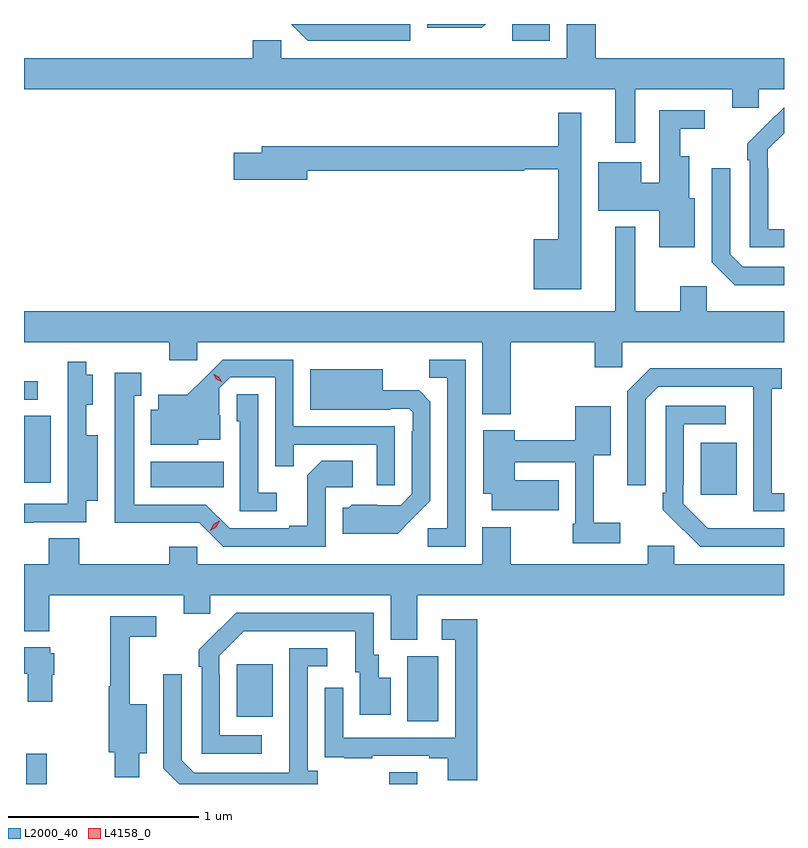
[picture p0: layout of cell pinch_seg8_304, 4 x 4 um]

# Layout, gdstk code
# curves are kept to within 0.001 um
import gdstk
lib = gdstk.Library(unit=1e-6, precision=1e-09)
def R(c, l, rs):  # rectangles x0, y0, x1, y1
    for r in rs: c.add(gdstk.rectangle(r[:2], r[2:], *l))
def P(c, l, *ps):  # polygons
    for p in ps: c.add(gdstk.Polygon(p, *l))
L2000_40 = (2000, 40)
L4158_0 = (4158, 0)

pinch_seg8_304 = lib.new_cell('pinch_seg8_304')
R(pinch_seg8_304, L2000_40, [(513.672,1151.471,513.781,1151.629), (515.584,1151.471,515.731,1151.534), (515.678,1151.8,515.842,1152.144), (514.781,1151.825,514.969,1152.1), (517.223,1152.993,517.411,1153.267), (514.328,1153.034,514.712,1153.168), (513.661,1153.056,513.802,1153.409), (513.661,1153.494,513.733,1153.591), (516.231,1155.384,516.429,1155.471)])
P(pinch_seg8_304, L2000_40, [(516.877,1155.128),(517.388,1155.128),(517.388,1155.03),(517.527,1155.03),(517.527,1155.128),(517.661,1155.128),(517.661,1155.292),(516.671,1155.292),(516.671,1155.471),(516.518,1155.471),(516.518,1155.292),(515.016,1155.292),(515.016,1155.385),(514.865,1155.385),(514.865,1155.292),(513.661,1155.292),(513.661,1155.128),(516.773,1155.128),(516.773,1154.847),(516.877,1154.847)],
  [(516.09,1155.471),(515.783,1155.471),(515.783,1155.452),(516.071,1155.452)],
  [(515.694,1155.471),(515.067,1155.471),(515.154,1155.384),(515.694,1155.384)],
  [(517.661,1154.391),(517.578,1154.391),(517.578,1154.711),(517.575,1154.711),(517.575,1154.811),(517.661,1154.897),(517.661,1155.033),(517.467,1154.841),(517.467,1154.753),(517.482,1154.753),(517.482,1154.295),(517.661,1154.295)],
  [(517.192,1154.554),(517.162,1154.554),(517.162,1154.776),(517.114,1154.776),(517.114,1154.921),(517.243,1154.921),(517.243,1155.018),(517.005,1155.018),(517.005,1154.636),(516.91,1154.636),(516.91,1154.743),(516.683,1154.743),(516.683,1154.489),(517.004,1154.489),(517.004,1154.297),(517.192,1154.297)],
  [(516.595,1155.004),(516.474,1155.004),(516.474,1154.827),(514.913,1154.827),(514.913,1154.793),(514.764,1154.793),(514.764,1154.651),(515.152,1154.651),(515.152,1154.698),(516.295,1154.698),(516.295,1154.706),(516.474,1154.706),(516.474,1154.338),(516.344,1154.338),(516.344,1154.075),(516.595,1154.075)],
  [(517.661,1154.193),(517.443,1154.193),(517.377,1154.259),(517.377,1154.713),(517.281,1154.713),(517.281,1154.217),(517.402,1154.096),(517.661,1154.096)],
  [(516.222,1153.796),(516.664,1153.796),(516.664,1153.665),(516.81,1153.665),(516.81,1153.796),(517.661,1153.796),(517.661,1153.96),(517.254,1153.96),(517.254,1154.092),(517.115,1154.092),(517.115,1153.96),(516.877,1153.96),(516.877,1154.404),(516.773,1154.404),(516.773,1153.96),(513.661,1153.96),(513.661,1153.796),(514.426,1153.796),(514.426,1153.701),(514.572,1153.701),(514.572,1153.796),(516.074,1153.796),(516.074,1153.418),(516.222,1153.418)],
  [(515.985,1153.704),(515.794,1153.704),(515.794,1153.609),(515.889,1153.609),(515.889,1152.816),(515.787,1152.816),(515.787,1152.72),(515.985,1152.72)],
  [(515.613,1153.353),(515.079,1153.353),(515.079,1153.704),(514.706,1153.704),(514.519,1153.519),(514.367,1153.519),(514.367,1153.441),(514.328,1153.441),(514.328,1153.256),(514.578,1153.256),(514.578,1153.283),(514.693,1153.283),(514.693,1153.412),(514.689,1153.412),(514.689,1153.554),(514.746,1153.611),(514.983,1153.611),(514.983,1153.144),(515.081,1153.144),(515.081,1153.257),(515.517,1153.257),(515.517,1153.044),(515.613,1153.044)],
  [(513.707,1152.849),(513.988,1152.849),(513.988,1152.962),(514.048,1152.962),(514.048,1153.306),(513.988,1153.306),(513.988,1153.466),(514.024,1153.466),(514.024,1153.624),(513.988,1153.624),(513.988,1153.693),(513.89,1153.693),(513.89,1153.47),(513.891,1153.47),(513.891,1153.202),(513.89,1153.202),(513.89,1152.945),(513.661,1152.945),(513.661,1152.847),(513.707,1152.847)],
  [(517.661,1153.002),(517.596,1153.002),(517.596,1153.55),(517.648,1153.55),(517.648,1153.66),(516.958,1153.66),(516.837,1153.539),(516.837,1153.044),(516.933,1153.044),(516.933,1153.497),(516.999,1153.563),(517.499,1153.563),(517.5,1152.906),(517.661,1152.906)],
  [(515.707,1152.869),(515.799,1152.962),(515.799,1153.484),(515.74,1153.543),(515.548,1153.543),(515.548,1153.654),(515.168,1153.654),(515.168,1153.442),(515.588,1153.442),(515.588,1153.446),(515.688,1153.446),(515.706,1153.428),(515.706,1153.328),(515.703,1153.328),(515.703,1152.999),(515.643,1152.939),(515.386,1152.94),(515.37,1152.924),(515.339,1152.924),(515.339,1152.788),(515.627,1152.788)],
  [(515.25,1153.032),(515.392,1153.032),(515.392,1153.172),(515.227,1153.172),(515.151,1153.096),(515.151,1152.829),(515.057,1152.829),(515.057,1152.816),(514.743,1152.816),(514.617,1152.942),(514.24,1152.942),(514.24,1153.515),(514.279,1153.515),(514.279,1153.636),(514.139,1153.636),(514.139,1152.845),(514.584,1152.846),(514.71,1152.72),(515.25,1152.72)],
  [(514.99,1153.003),(514.893,1153.003),(514.893,1153.523),(514.782,1153.523),(514.782,1153.38),(514.797,1153.38),(514.797,1152.906),(514.99,1152.906)],
  [(517.661,1152.816),(517.26,1152.817),(517.131,1152.945),(517.131,1153.045),(517.134,1153.045),(517.134,1153.365),(517.354,1153.365),(517.354,1153.461),(517.038,1153.461),(517.038,1153.003),(517.023,1153.003),(517.023,1152.915),(517.22,1152.72),(517.661,1152.72)],
  [(516.799,1152.847),(516.659,1152.847),(516.659,1153.202),(516.748,1153.202),(516.748,1153.459),(516.561,1153.459),(516.561,1153.28),(516.244,1153.28),(516.244,1153.333),(516.077,1153.333),(516.077,1152.998),(516.122,1152.998),(516.122,1152.911),(516.475,1152.911),(516.475,1153.069),(516.244,1153.069),(516.244,1153.164),(516.561,1153.164),(516.561,1152.841),(516.549,1152.841),(516.549,1152.738),(516.799,1152.738)],
  [(515.731,1152.464),(517.661,1152.464),(517.661,1152.628),(517.083,1152.628),(517.083,1152.726),(516.944,1152.726),(516.944,1152.628),(516.222,1152.628),(516.222,1152.823),(516.074,1152.823),(516.074,1152.628),(514.572,1152.628),(514.572,1152.721),(514.426,1152.721),(514.426,1152.628),(513.951,1152.628),(513.951,1152.764),(513.791,1152.764),(513.791,1152.628),(513.661,1152.628),(513.661,1152.275),(513.795,1152.275),(513.795,1152.464),(514.502,1152.464),(514.502,1152.366),(514.641,1152.366),(514.641,1152.464),(515.591,1152.464),(515.591,1152.229),(515.731,1152.229)],
  [(514.912,1151.727),(514.692,1151.727),(514.692,1152.047),(514.689,1152.047),(514.689,1152.147),(514.818,1152.276),(515.405,1152.276),(515.405,1152.06),(515.429,1152.06),(515.429,1151.835),(515.59,1151.835),(515.59,1152.031),(515.527,1152.031),(515.527,1152.15),(515.502,1152.15),(515.502,1152.372),(514.778,1152.372),(514.581,1152.177),(514.581,1152.089),(514.596,1152.089),(514.596,1151.631),(514.912,1151.631)],
  [(514.267,1151.633),(514.306,1151.633),(514.306,1151.89),(514.217,1151.89),(514.217,1152.246),(514.357,1152.246),(514.357,1152.354),(514.114,1152.354),(514.114,1151.986),(514.107,1151.986),(514.107,1151.637),(514.138,1151.637),(514.138,1151.507),(514.267,1151.507)],
  [(516.047,1152.337),(515.859,1152.337),(515.859,1152.231),(515.931,1152.231),(515.931,1151.715),(515.34,1151.715),(515.34,1151.977),(515.244,1151.977),(515.244,1151.722),(515.245,1151.722),(515.245,1151.613),(515.347,1151.613),(515.347,1151.607),(515.495,1151.607),(515.495,1151.619),(515.795,1151.619),(515.795,1151.607),(515.891,1151.607),(515.891,1151.49),(516.047,1151.49)],
  [(513.81,1152.045),(513.82,1152.045),(513.82,1152.159),(513.798,1152.159),(513.798,1152.19),(513.661,1152.19),(513.661,1152.052),(513.68,1152.052),(513.68,1151.904),(513.81,1151.904)],
  [(515.206,1151.542),(515.154,1151.542),(515.154,1152.09),(515.257,1152.09),(515.257,1152.186),(515.058,1152.186),(515.057,1151.529),(514.557,1151.529),(514.491,1151.595),(514.491,1152.049),(514.395,1152.049),(514.395,1151.553),(514.477,1151.471),(515.206,1151.471)])
P(pinch_seg8_304, L4158_0, [(514.704,1153.585),(514.673,1153.6),(514.656,1153.63),(514.656,1153.63),(514.656,1153.63),(514.686,1153.615),(514.704,1153.586),(514.704,1153.585)],
  [(514.64,1152.805),(514.64,1152.805),(514.657,1152.837),(514.689,1152.856),(514.69,1152.856),(514.69,1152.856),(514.672,1152.823),(514.64,1152.805)])

lib.write_gds('pinch_seg8_304.gds')
